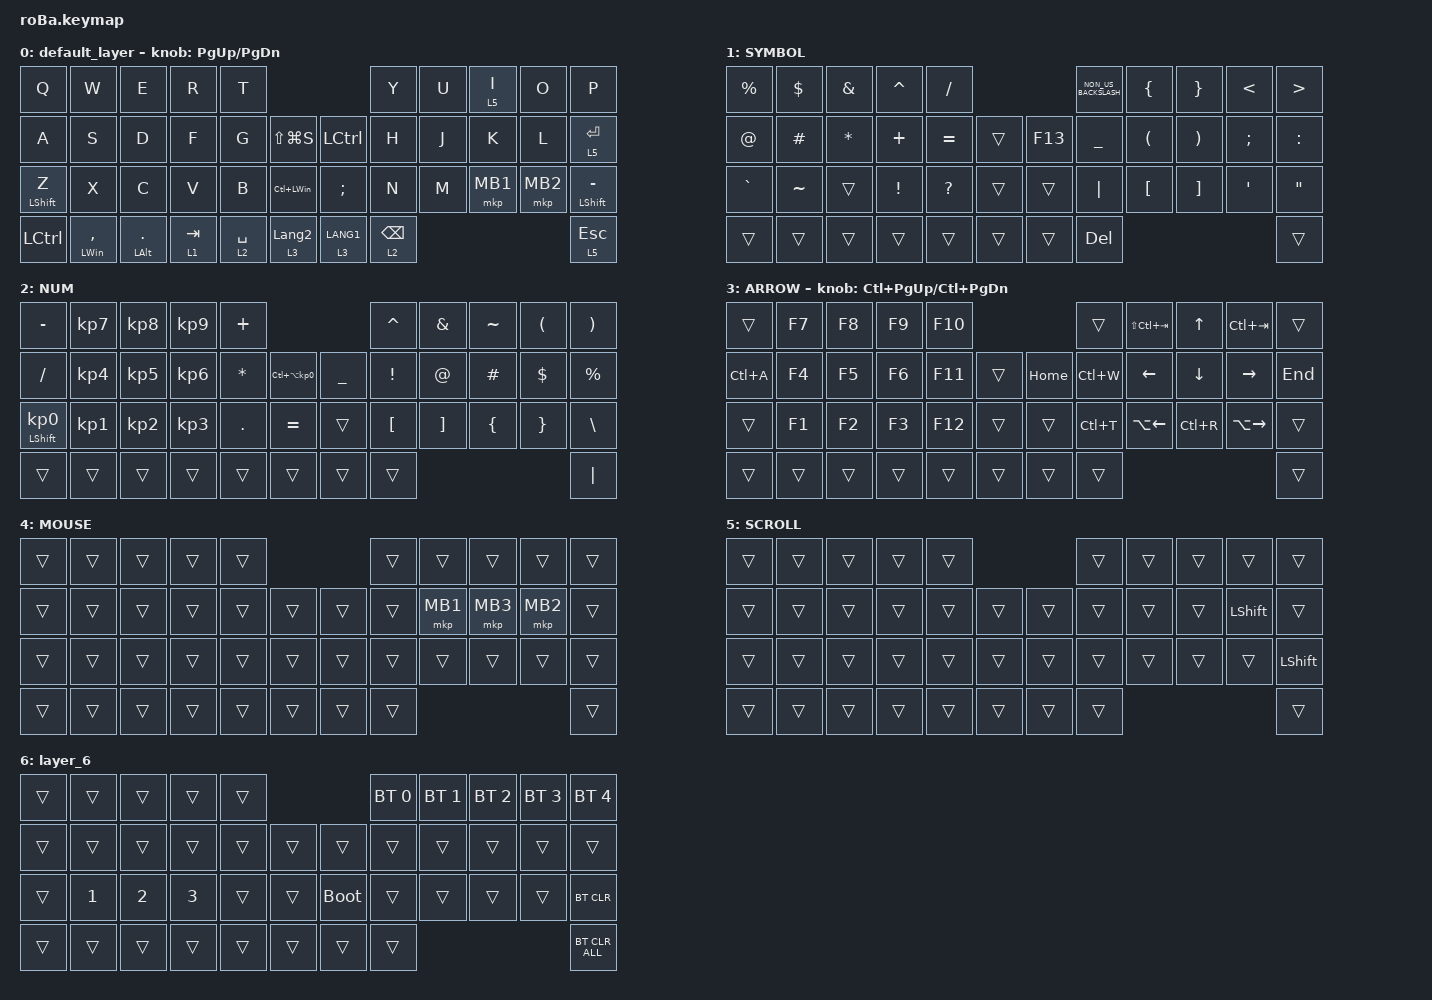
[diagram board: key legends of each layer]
#include <behaviors.dtsi>
#include <dt-bindings/zmk/bt.h>
#include <dt-bindings/zmk/keys.h>
#include <dt-bindings/zmk/pointing.h>

&mt {
    flavor = "balanced";
    quick-tap-ms = <0>;
};

&trackball {
    automouse-layer = <4>;
    scroll-layers = <5>;

    // arrows {
    //     layers = <3>;
    //     bindings =
    //         <&kp RIGHT_ARROW>,
    //         <&kp LEFT_ARROW>,
    //         <&kp UP_ARROW>,
    //         <&kp DOWN_ARROW>;
    //     tick = <10>;
    //     wait-ms = <5>;
    //     tap-ms = <5>;
    // };
};

/ {
    combos {
        compatible = "zmk,combos";

        tab {
            bindings = <&kp TAB>;
            key-positions = <11 12>;
        };

        shift_tab {
            bindings = <&kp LS(TAB)>;
            key-positions = <12 13>;
        };

        muhennkann {
            bindings = <&to_layer_0 INT_MUHENKAN>;
            key-positions = <11 10>;
        };

        double_quotation {
            bindings = <&kp DOUBLE_QUOTES>;
            key-positions = <20 21>;
        };

        eq {
            bindings = <&kp EQUAL>;
            key-positions = <24 25>;
        };
    };

    macros {
        to_layer_0: to_layer_0 {
            compatible = "zmk,behavior-macro-one-param";
            #binding-cells = <1>;
            bindings = <&to 0 &macro_param_1to1 &kp MACRO_PLACEHOLDER>;
            label = "TO_LAYER_0";
        };
    };

    behaviors {
        lt_to_layer_0: lt_to_layer_0 {
            compatible = "zmk,behavior-hold-tap";
            label = "LAYER_TAP_TO_0";
            bindings = <&mo>, <&to_layer_0>;

            #binding-cells = <2>;
            tapping-term-ms = <200>;
        };
    };

    keymap {
        compatible = "zmk,keymap";

        default_layer {
            bindings = <
&kp Q             &kp W               &kp E                &kp R                 &kp T                                                           &kp Y            &kp U  &lt 5 I   &kp O     &kp P
&kp A             &kp S               &kp D                &kp F                 &kp G        &kp LS(LG(S))                    &kp LEFT_CONTROL  &kp H            &kp J  &kp K     &kp L     &lt 5 ENTER
&mt LEFT_SHIFT Z  &kp X               &kp C                &kp V                 &kp B        &kp LC(LEFT_WIN)                 &kp SEMICOLON     &kp N            &kp M  &mkp MB1  &mkp MB2  &mt LEFT_SHIFT MINUS
&kp LEFT_CONTROL  &mt LEFT_WIN COMMA  &mt LEFT_ALT PERIOD  &lt_to_layer_0 1 TAB  &lt 2 SPACE  &lt_to_layer_0 3 LANGUAGE_2      &lt 3 LANG1       &lt 2 BACKSPACE                             &lt 5 ESC
            >;

            sensor-bindings = <&inc_dec_kp PG_UP PAGE_DOWN>;
        };

        SYMBOL {
            bindings = <
&kp PERCENT  &kp DOLLAR  &kp AMPERSAND  &kp CARET        &kp SLASH                          &kp NON_US_BACKSLASH  &kp LEFT_BRACE        &kp RIGHT_BRACE        &kp LESS_THAN  &kp GREATER_THAN
&kp AT_SIGN  &kp HASH    &kp ASTERISK   &kp PLUS         &kp EQUAL     &trans      &kp F13  &kp UNDERSCORE        &kp LEFT_PARENTHESIS  &kp RIGHT_PARENTHESIS  &kp SEMICOLON  &kp COLON
&kp GRAVE    &kp TILDE   &trans         &kp EXCLAMATION  &kp QUESTION  &trans      &trans   &kp PIPE              &kp LEFT_BRACKET      &kp RIGHT_BRACKET      &kp SQT        &kp DOUBLE_QUOTES
&trans       &trans      &trans         &trans           &trans        &trans      &trans   &kp DELETE                                                                        &trans
            >;
        };

        NUM {
            bindings = <
&kp MINUS                   &kp KP_NUMBER_7  &kp KP_NUMBER_8  &kp KP_NUMBER_9  &kp PLUS                                                   &kp CARET         &kp AMPERSAND      &kp TILDE       &kp LEFT_PARENTHESIS  &kp RIGHT_PARENTHESIS
&kp SLASH                   &kp KP_NUMBER_4  &kp KP_NUMBER_5  &kp KP_NUMBER_6  &kp ASTERISK  &kp LC(LA(KP_NUMBER_0))      &kp UNDERSCORE  &kp EXCLAMATION   &kp AT_SIGN        &kp HASH        &kp DOLLAR            &kp PERCENT
&mt LEFT_SHIFT KP_NUMBER_0  &kp KP_NUMBER_1  &kp KP_NUMBER_2  &kp KP_NUMBER_3  &kp PERIOD    &kp EQUAL                    &trans          &kp LEFT_BRACKET  &kp RIGHT_BRACKET  &kp LEFT_BRACE  &kp RIGHT_BRACE       &kp BACKSLASH
&trans                      &trans           &trans           &trans           &trans        &trans                       &trans          &trans                                                                     &kp PIPE
            >;
        };

        ARROW {
            bindings = <
&trans     &kp F7  &kp F8  &kp F9  &kp F10                        &trans     &kp LS(LC(TAB))     &kp UP_ARROW  &kp LC(TAB)          &trans
&kp LC(A)  &kp F4  &kp F5  &kp F6  &kp F11  &trans      &kp HOME  &kp LC(W)  &kp LEFT            &kp DOWN      &kp RIGHT_ARROW      &kp END
&trans     &kp F1  &kp F2  &kp F3  &kp F12  &trans      &trans    &kp LC(T)  &kp LA(LEFT_ARROW)  &kp LC(R)     &kp LA(RIGHT_ARROW)  &trans
&trans     &trans  &trans  &trans  &trans   &trans      &trans    &trans                                                            &trans
            >;

            sensor-bindings = <&inc_dec_kp LC(PAGE_UP) LC(PAGE_DOWN)>;
        };

        MOUSE {
            bindings = <
&trans  &trans  &trans  &trans  &trans                      &trans  &trans    &trans    &trans    &trans
&trans  &trans  &trans  &trans  &trans  &trans      &trans  &trans  &mkp MB1  &mkp MB3  &mkp MB2  &trans
&trans  &trans  &trans  &trans  &trans  &trans      &trans  &trans  &trans    &trans    &trans    &trans
&trans  &trans  &trans  &trans  &trans  &trans      &trans  &trans                                &trans
            >;
        };

        SCROLL {
            bindings = <
&trans  &trans  &trans  &trans  &trans                      &trans  &trans  &trans  &trans          &trans
&trans  &trans  &trans  &trans  &trans  &trans      &trans  &trans  &trans  &trans  &kp LEFT_SHIFT  &trans
&trans  &trans  &trans  &trans  &trans  &trans      &trans  &trans  &trans  &trans  &trans          &kp LEFT_SHIFT
&trans  &trans  &trans  &trans  &trans  &trans      &trans  &trans                                  &trans
            >;
        };

        layer_6 {
            bindings = <
&trans  &trans        &trans        &trans        &trans                           &bt BT_SEL 0  &bt BT_SEL 1  &bt BT_SEL 2  &bt BT_SEL 3  &bt BT_SEL 4
&trans  &trans        &trans        &trans        &trans  &trans      &trans       &trans        &trans        &trans        &trans        &trans
&trans  &kp NUMBER_1  &kp NUMBER_2  &kp NUMBER_3  &trans  &trans      &bootloader  &trans        &trans        &trans        &trans        &bt BT_CLR
&trans  &trans        &trans        &trans        &trans  &trans      &trans       &trans                                                  &bt BT_CLR_ALL
            >;
        };
    };
};
